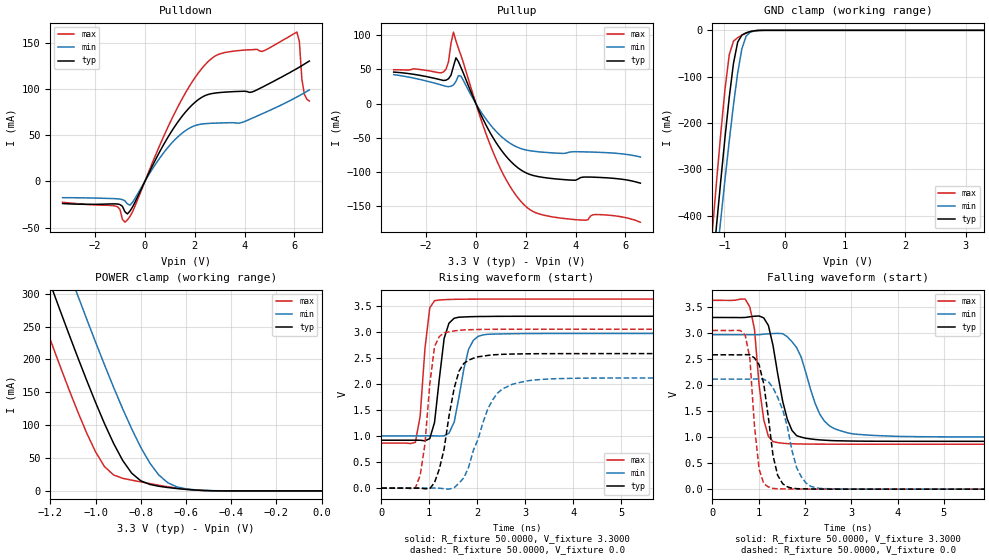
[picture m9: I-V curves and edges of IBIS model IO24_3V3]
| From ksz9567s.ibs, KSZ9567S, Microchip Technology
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|   Model IO24_3V3
[Model]  IO24_3V3
Model_type I/O
Polarity   Non-Inverting
Enable   Active-High
Vinl =   1.2000V
Vinh =   2.1000V
Vmeas =  1.6500V
Vref =   0.0V
C_comp   1.5000pF   1.4000pF   1.7000pF
[Temperature Range]   42.0000   0.1250k   -40.0000
[Voltage Range]   3.3000V   2.9700V   3.6300V
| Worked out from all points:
|   slope of the pulldown table from 0 to 0.495 V, typ, clamps not added: 18.3 ohm
|   slope of the pullup table from 0 to 0.495 V, typ, clamps not added: 13.2 ohm
|   GND clamp passes 1 mA (typ) near -0.50 V on its own axis
|   POWER clamp passes 1 mA (typ) near -0.54 V on its own axis
|   rising waveform, R_fixture 50.0000, V_fixture 3.3000: 20-80 % time 177ps typ, 251ps min, 148ps max; typ from 0.92 V to 3.3 V
|   rising waveform, R_fixture 50.0000, V_fixture 0.0: 20-80 % time 316ps typ, 493ps min, 201ps max; typ from 0 V to 2.58 V
|   falling waveform, R_fixture 50.0000, V_fixture 3.3000: 20-80 % time 310ps typ, 456ps min, 188ps max; typ from 3.3 V to 0.92 V
|   falling waveform, R_fixture 50.0000, V_fixture 0.0: 20-80 % time 245ps typ, 374ps min, 167ps max; typ from 2.58 V to 0 V
[Pulldown]
|Voltage   I(typ)   I(min)   I(max)
-3.3V     -23.98mA   -17.63mA   -22.6mA
-1.2V     -24.32mA   -18.67mA   -26.52mA
-700mV    -35.2mA    -24.35mA   -41.64mA
1.4V      67.28mA    50.19mA    84.77mA
2.2V      89.73mA    61.86mA    119.5mA
2.9V      96.06mA    63.28mA    137.1mA
4.3V      96.97mA    68.45mA    142.8mA
6.1V      122.3mA    91.52mA    161.9mA
6.2V      123.9mA    92.99mA    151.8mA
6.3V      125.5mA    94.5mA     111.2mA
6.4V      127.2mA    96.03mA    94.42mA
6.6V      130.5mA    99.2mA     87.17mA
[Pullup]
|Voltage   I(typ)   I(min)   I(max)
-3.3V     46.09mA    42.37mA    49.56mA
-1.3V     33.83mA    26.31mA    46.35mA
-1.1V     36.31mA    24.75mA    60.96mA
-900mV    54.57mA    27.29mA    104.6mA
-800mV    66.99mA    32.47mA    91.53mA
-600mV    52.9mA     40.15mA    70.55mA
700mV     -50.61mA   -36.18mA   -71.88mA
1.3V      -80.76mA   -56.28mA   -116.9mA
1.9V      -99.19mA   -66.86mA   -146.8mA
3.1V      -109.8mA   -72.17mA   -165.9mA
5.2V      -108.5mA   -71.71mA   -162.9mA
6.6V      -116.4mA   -78.13mA   -173.5mA
[GND_clamp]
|Voltage   I(typ)   I(min)   I(max)
-3.3V     -3.678A    -3.436A    -3.916A
-1.2V     -519mA     -585.5mA   -433.8mA
-1.13V    -420.3mA   -495.9mA   -325.9mA
-1.06V    -323.9mA   -407.8mA   -222.2mA
-990mV    -231.1mA   -321.7mA   -126.7mA
-920mV    -144.7mA   -238.8mA   -52.71mA
-850mV    -71.39mA   -160.9mA   -23.36mA
-780mV    -25.35mA   -91.91mA   -15.75mA
-710mV    -10.22mA   -39.55mA   -10.37mA
-640mV    -5.456mA   -12.39mA   -5.873mA
-360mV    -20.95uA   -64.41uA   -3.06uA
3.3V      195.9pA    11.54uA    120.1pA
[POWER_clamp]
|Voltage   I(typ)   I(min)   I(max)
-3.28V    2.285A     2.35A      3.227A
-1.28V    390.7mA    482.8mA    306.2mA
-1.2V     315.2mA    409.2mA    230.2mA
-1.16V    277.8mA    372.4mA    193mA
-1.08V    204.5mA    298.8mA    121.8mA
-960mV    102.2mA    191.6mA    36.92mA
-880mV    46.44mA    125mA      19.21mA
-840mV    26.97mA    94.37mA    16.4mA
-760mV    9.925mA    42.53mA    11.18mA
-680mV    5.17mA     12.36mA    6.315mA
-520mV    636.6uA    885.3uA    435.6uA
0V        195.9pA    2.768nA    157.9pA
[Ramp]
| variable   typ   min   max
dV/dt_r  1.5496/0.2823n   1.2692/0.5010n   1.8303/0.1782n
dV/dt_f  1.4283/0.2977n   1.1801/0.4937n   1.6595/0.1983n
R_load = 50.0000
[Rising Waveform]
R_fixture= 50.0000
V_fixture= 3.3000
V_fixture_min= 2.9700
V_fixture_max= 3.6300
|time   V(typ)   V(min)   V(max)
0s        919.5mV    1.003V     864.1mV
710ps     919.7mV    1.003V     877.7mV
810ps     919.1mV    1.003V     1.38V
1.01ns    949.5mV    1.003V     3.46V
1.11ns    1.261V     1.003V     3.599V
1.31ns    2.874V     1.002V     3.618V
1.52ns    3.262V     1.268V     3.625V
1.82ns    3.29V      2.664V     3.628V
2.12ns    3.296V     2.942V     3.629V
10ns      3.3V       2.97V      3.63V
[Rising Waveform]
R_fixture= 50.0000
V_fixture= 0.0
V_fixture_min= 0.0
V_fixture_max= 0.0
|time   V(typ)   V(min)   V(max)
0s        -292.4nV   477.3nV    -5.758uV
710ps     176.2uV    6.025uV    5.115mV
910ps     -13.02mV   -23.72uV   845.4mV
1.11ns    106.2mV    670.9uV    2.719V
1.31ns    752.2mV    -12.31mV   2.984V
1.52ns    1.92V      9.024mV    3.019V
1.72ns    2.394V     195.1mV    3.038V
2.32ns    2.558V     1.692V     3.049V
2.83ns    2.576V     2.017V     3.05V
10ns      2.583V     2.115V     3.05V
[Falling Waveform]
R_fixture= 50.0000
V_fixture= 3.3000
V_fixture_min= 2.9700
V_fixture_max= 3.6300
|time   V(typ)   V(min)   V(max)
0s        3.3V       2.97V      3.63V
810ps     3.314V     2.969V     3.499V
910ps     3.324V     2.968V     3.071V
1.11ns    3.292V     2.979V     1.332V
1.31ns    2.76V      2.991V     914.3mV
1.62ns    1.34V      2.928V     875.4mV
2.02ns    978.2mV    2.235V     867.3mV
2.42ns    941.6mV    1.307V     865mV
3.03ns    924.8mV    1.064V     864.3mV
10ns      919.5mV    1.003V     864.1mV
[Falling Waveform]
R_fixture= 50.0000
V_fixture= 0.0
V_fixture_min= 0.0
V_fixture_max= 0.0
|time   V(typ)   V(min)   V(max)
0s        2.583V     2.115V     3.05V
710ps     2.586V     2.115V     2.958V
810ps     2.584V     2.115V     2.514V
1.01ns    2.388V     2.121V     382.7mV
1.21ns    1.374V     2.064V     42.94mV
1.31ns    643.4mV    1.948V     13.74mV
1.52ns    103mV      1.521V     5.129mV
1.82ns    9.928mV    413.2mV    2.185mV
2.22ns    2.844mV    30.61mV    780.1uV
10ns      -887.9nV   1.834uV    -1.179uV
